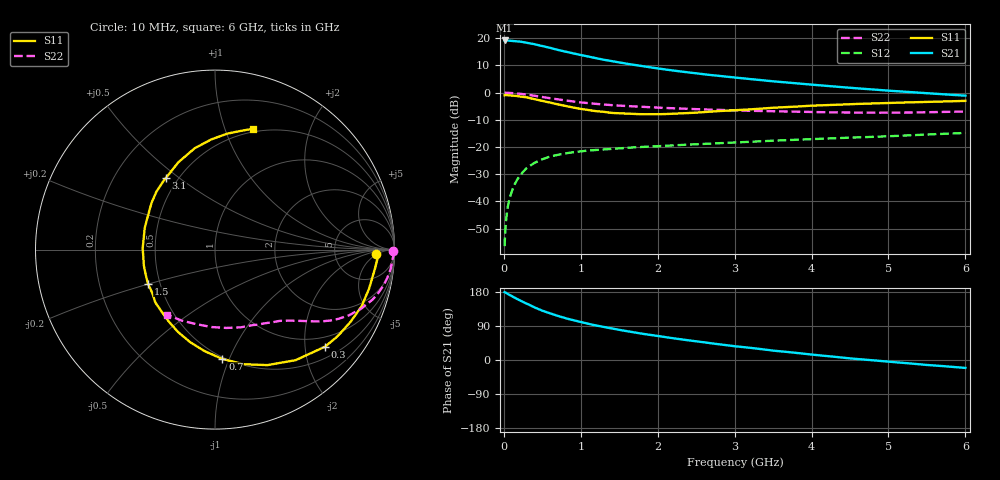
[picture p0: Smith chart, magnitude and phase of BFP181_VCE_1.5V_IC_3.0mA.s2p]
! Infineon Technologies  Discrete & RF Semiconductors
! BFP181
! VCE = 1.5 V,  IC =  3.0 mA
! Common Emitter S-Parameters:  Jan 2016
# GHz  S  MA  R  50
!  f  S11  S21  S12  S22
! GHz  MAG  ANG  MAG  ANG  MAG  ANG  MAG  ANG
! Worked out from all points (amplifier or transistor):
!   210 points, 10 MHz to 6 GHz, reference 50 ohm
!   highest |S21| = 19.2 dB at 10 MHz (marker M1)
!   |S21| within 3 dB of that: start of sweep to 638.5 MHz
!   unconditionally stable (mu >= 1): 1.974 GHz to end of sweep
!   at 185 MHz: K = 0.13, MSG = 25.2 dB, |S12| = -31.5 dB
!   at 1.52 GHz: K = 0.84, MSG = 15.7 dB, |S12| = -20.4 dB
!   at 6 GHz: K = 1.10, MAG = 4.9 dB, |S12| = -14.8 dB
!   S11 on the Smith chart (normalised r, x): 10 MHz: 17, -4; 300 MHz: 0.75, -2.45; 700 MHz: 0.49, -0.94; 1.5 GHz: 0.43, -0.20; 3.1 GHz: 0.43, +0.45; 6 GHz: 0.47, +1.25
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0.01  0.8977 -1.6  9.123 179.0  0.0015 84.8  0.9933 -0.6
0.02  0.9069 -3.1  9.088 178.3  0.0031 84.3  0.9977 -1.3
0.03  0.9032 -4.4  9.088 177.0  0.0047 85.9  0.995 -1.9
0.08  0.8884 -11.4  9.013 171.2  0.012 81.9  0.9865 -5.1
0.2  0.8558 -28.0  8.77 158.0  0.0286 73.9  0.9582 -12.3
0.24  0.8401 -33.6  8.557 153.8  0.0337 70.5  0.9436 -14.5
0.3  0.8178 -41.4  8.273 148.5  0.0412 66.9  0.9208 -17.6
0.4  0.7624 -53.9  7.782 138.5  0.0512 60.8  0.8778 -22.1
0.5  0.7067 -65.6  7.196 130.1  0.0595 55.0  0.8313 -26.1
0.6  0.658 -76.0  6.688 122.9  0.0668 50.6  0.7898 -29.2
0.7  0.6108 -86.1  6.117 116.4  0.0717 47.0  0.7526 -31.7
0.88  0.5401 -103.0  5.393 106.0  0.0796 41.4  0.6949 -35.1
1.02  0.4972 -115.8  4.857 99.0  0.0837 38.5  0.6572 -37.3
1.22  0.4531 -132.2  4.251 90.2  0.0889 34.8  0.6182 -40.0
1.5  0.419 -153.2  3.6 79.4  0.0945 32.0  0.5772 -43.2
1.8  0.4012 -174.6  3.073 69.3  0.1003 30.1  0.5456 -46.6
2.02  0.4016 172.0  2.763 62.6  0.1039 28.8  0.5284 -49.2
2.6  0.4396 143.5  2.178 46.7  0.114 26.4  0.491 -57.0
3.1  0.4832 124.6  1.84 34.4  0.1229 24.3  0.4674 -64.8
4.1  0.5824 99.3  1.367 12.3  0.1416 20.1  0.438 -83.9
5.1  0.6536 82.9  1.065 -6.1  0.16 16.1  0.4285 -105.9
6  0.7062 72.5  0.88 -20.9  0.1816 11.4  0.4497 -126.3
